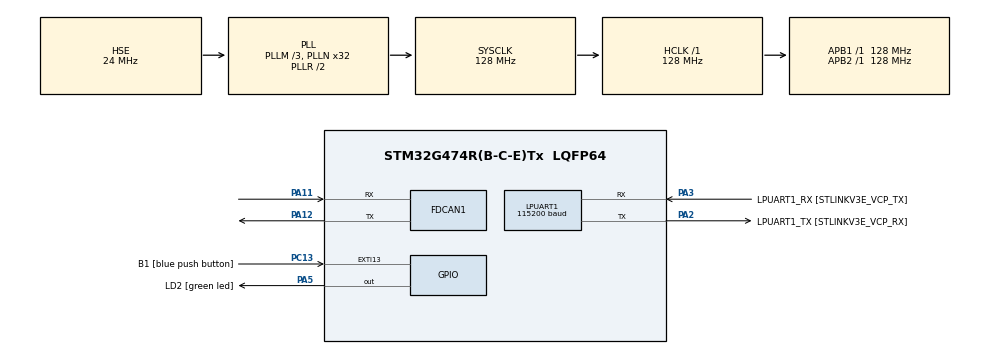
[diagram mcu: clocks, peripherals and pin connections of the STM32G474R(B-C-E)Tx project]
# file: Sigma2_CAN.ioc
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FDCAN1.ClockDivider=FDCAN_CLOCK_DIV2
FDCAN1.NominalPrescaler=40
FDCAN1.NominalTimeSeg1=13
LPUART1.BaudRate=115200
LPUART1.WordLength=UART_WORDLENGTH_8B
Mcu.Family=STM32G4
Mcu.Name=STM32G474R(B-C-E)Tx
Mcu.Package=LQFP64
NVIC.EXTI15_10_IRQn=true\:0\:0\:false\:true\:true\:2\:true\:true
NVIC.FDCAN1_IT0_IRQn=true\:0\:0\:false\:true\:true\:1\:true\:true
NVIC.PriorityGroup=NVIC_PRIORITYGROUP_4
PA11.Mode=FDCANMaster
PA11.Signal=FDCAN1_RX
PA12.Mode=FDCANMaster
PA12.Signal=FDCAN1_TX
PA13.GPIO_Label=T_SWDIO
PA13.Mode=Serial_Wire
PA13.Signal=SYS_JTMS-SWDIO
PA14.GPIO_Label=T_SWCLK
PA14.Mode=Serial_Wire
PA14.Signal=SYS_JTCK-SWCLK
PA2.GPIO_Label=LPUART1_TX [STLINKV3E_VCP_RX]
PA2.Mode=Asynchronous
PA2.Signal=LPUART1_TX
PA3.GPIO_Label=LPUART1_RX [STLINKV3E_VCP_TX]
PA3.Mode=Asynchronous
PA3.Signal=LPUART1_RX
PA5.GPIO_Label=LD2 [green led]
PA5.Signal=GPIO_Output
PB3.GPIO_Label=T_SWO
PB3.Signal=SYS_JTDO-SWO
PC13.GPIO_Label=B1 [blue push button]
PC13.Signal=GPXTI13
PC14-OSC32_IN.Mode=LSE-External-Oscillator
PC14-OSC32_IN.Signal=RCC_OSC32_IN
PC15-OSC32_OUT.Mode=LSE-External-Oscillator
PC15-OSC32_OUT.Signal=RCC_OSC32_OUT
PF0-OSC_IN.Mode=HSE-External-Oscillator
PF0-OSC_IN.Signal=RCC_OSC_IN
PF1-OSC_OUT.Mode=HSE-External-Oscillator
PF1-OSC_OUT.Signal=RCC_OSC_OUT
ProjectManager.HeapSize=0x200
ProjectManager.StackSize=0x400
ProjectManager.TargetToolchain=STM32CubeIDE
RCC.ADC12Freq_Value=128000000
RCC.ADC345Freq_Value=128000000
RCC.AHBFreq_Value=128000000
RCC.APB1Freq_Value=128000000
RCC.APB1TimFreq_Value=128000000
RCC.APB2Freq_Value=128000000
RCC.APB2TimFreq_Value=128000000
RCC.CortexFreq_Value=128000000
RCC.EXTERNAL_CLOCK_VALUE=12288000
RCC.HCLKFreq_Value=128000000
RCC.HSE_VALUE=24000000
RCC.HSI48_VALUE=48000000
RCC.HSI_VALUE=16000000
RCC.PLLM=RCC_PLLM_DIV3
RCC.PLLN=32
RCC.PLLSourceVirtual=RCC_PLLSOURCE_HSE
RCC.RTCClockSelection=RCC_RTCCLKSOURCE_LSE
RCC.SYSCLKFreq_VALUE=128000000
RCC.SYSCLKSource=RCC_SYSCLKSOURCE_PLLCLK
RCC.USBFreq_Value=128000000
RCC.VCOOutputFreq_Value=256000000
VP_SYS_VS_DBSignals.Mode=DisableDeadBatterySignals
board=NUCLEO-G474RE

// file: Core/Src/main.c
/* USER CODE BEGIN Header */
/**
  ******************************************************************************
  * @file           : main.c
  * @brief          : Main program body
  ******************************************************************************
  * @attention
  *
  * <h2><center>&copy; Copyright (c) 2019 STMicroelectronics.
  * All rights reserved.</center></h2>
  *
  * This software component is licensed by ST under BSD 3-Clause license,
  * the "License"; You may not use this file except in compliance with the
  * License. You may obtain a copy of the License at:
  *                        opensource.org/licenses/BSD-3-Clause
  *
  ******************************************************************************
  */
/* USER CODE END Header */

#include "main.h"

/* USER CODE BEGIN Includes */
#include "Sigma2_Def.h"
/* USER CODE END Includes */

/* USER CODE BEGIN PTD */
typedef union{
	uint8_t		Data8u[8];
	uint16_t	Data16u[4];
	int16_t		Data16[4];
}data_typedef;
/* USER CODE END PTD */

FDCAN_HandleTypeDef hfdcan1;

UART_HandleTypeDef hlpuart1;

/* USER CODE BEGIN PV */
uint8_t TxData[8];
data_typedef RxData;
uint8_t ubKeyNumber = 0x0;
FDCAN_RxHeaderTypeDef RxHeader;
FDCAN_TxHeaderTypeDef TxHeader;
uint32_t ID = 0x00;
MS_typedef ms;
CS_typedef cs;
DS_typedef ds;
/* USER CODE END PV */

void SystemClock_Config(void);
static void MX_GPIO_Init(void);
static void MX_LPUART1_UART_Init(void);
static void MX_FDCAN1_Init(void);
static void MX_NVIC_Init(void);
/* USER CODE BEGIN PFP */
void readSigmaData(void);
/* USER CODE END PFP */

int main(void)
{

  /* MCU Configuration--------------------------------------------------------*/

  /* Reset of all peripherals, Initializes the Flash interface and the Systick. */
  HAL_Init();

  /* Configure the system clock */
  SystemClock_Config();

  /* Initialize all configured peripherals */
  MX_GPIO_Init();
  MX_LPUART1_UART_Init();
  MX_FDCAN1_Init();

  /* Initialize interrupts */
  MX_NVIC_Init();
  /* USER CODE BEGIN 2 */

  TxHeader.Identifier = 0x0;
  TxHeader.IdType = FDCAN_EXTENDED_ID;
  TxHeader.TxFrameType = FDCAN_DATA_FRAME;
  TxHeader.DataLength = FDCAN_DLC_BYTES_8;
  TxHeader.ErrorStateIndicator = FDCAN_ESI_ACTIVE;
  TxHeader.BitRateSwitch = FDCAN_BRS_OFF;
  TxHeader.FDFormat = FDCAN_CLASSIC_CAN;
  TxHeader.TxEventFifoControl = FDCAN_NO_TX_EVENTS;
  TxHeader.MessageMarker = 0;

  if (HAL_FDCAN_Start(&hfdcan1) != HAL_OK)
      {
        /* Start Error */
        Error_Handler();
      }
    if (HAL_FDCAN_ActivateNotification(&hfdcan1, FDCAN_IT_RX_FIFO0_NEW_MESSAGE, 0) != HAL_OK)
      {
        /* Notification Error */
        Error_Handler();
      }
  /* USER CODE END 2 */

  /* Infinite loop */
  while (1)
  {

    /* USER CODE BEGIN 3 */

	  /*if (HAL_FDCAN_AddMessageToTxFifoQ(&hfdcan1, &TxHeader, TxData) != HAL_OK)
	  	  	{
	  	  	  // Transmission request Error
	  	  	  Error_Handler();
	  	  	}
	  TxData[7]=TxData[7]+1;*/

	  /*if(HAL_FDCAN_GetRxMessage(&hfdcan1,FDCAN_RX_FIFO0,&RxHeader,RxData.Data8u) == HAL_OK){
		  HAL_GPIO_WritePin(GPIOA, GPIO_PIN_5, GPIO_PIN_SET);
		  ID = RxHeader.Identifier;
		  //HAL_Delay(100);
		  //HAL_GPIO_TogglePin(GPIOA, GPIO_PIN_5);
	  		}
	  else{
		  // Transmission request Error /
		  Error_Handler();
	  }*/

	  HAL_GPIO_WritePin(GPIOA, GPIO_PIN_5, GPIO_PIN_RESET);

	  HAL_Delay(10);
  }
  /* USER CODE END 3 */
}

void SystemClock_Config(void)
{
  RCC_OscInitTypeDef RCC_OscInitStruct = {0};
  RCC_ClkInitTypeDef RCC_ClkInitStruct = {0};
  RCC_PeriphCLKInitTypeDef PeriphClkInit = {0};

  /** Configure the main internal regulator output voltage
  */
  HAL_PWREx_ControlVoltageScaling(PWR_REGULATOR_VOLTAGE_SCALE1);
  /** Initializes the CPU, AHB and APB busses clocks
  */
  RCC_OscInitStruct.OscillatorType = RCC_OSCILLATORTYPE_HSE;
  RCC_OscInitStruct.HSEState = RCC_HSE_ON;
  RCC_OscInitStruct.PLL.PLLState = RCC_PLL_ON;
  RCC_OscInitStruct.PLL.PLLSource = RCC_PLLSOURCE_HSE;
  RCC_OscInitStruct.PLL.PLLM = RCC_PLLM_DIV3;
  RCC_OscInitStruct.PLL.PLLN = 32;
  RCC_OscInitStruct.PLL.PLLP = RCC_PLLP_DIV2;
  RCC_OscInitStruct.PLL.PLLQ = RCC_PLLQ_DIV2;
  RCC_OscInitStruct.PLL.PLLR = RCC_PLLR_DIV2;
  if (HAL_RCC_OscConfig(&RCC_OscInitStruct) != HAL_OK)
  {
    Error_Handler();
  }
  /** Initializes the CPU, AHB and APB busses clocks
  */
  RCC_ClkInitStruct.ClockType = RCC_CLOCKTYPE_HCLK|RCC_CLOCKTYPE_SYSCLK
                              |RCC_CLOCKTYPE_PCLK1|RCC_CLOCKTYPE_PCLK2;
  RCC_ClkInitStruct.SYSCLKSource = RCC_SYSCLKSOURCE_PLLCLK;
  RCC_ClkInitStruct.AHBCLKDivider = RCC_SYSCLK_DIV1;
  RCC_ClkInitStruct.APB1CLKDivider = RCC_HCLK_DIV1;
  RCC_ClkInitStruct.APB2CLKDivider = RCC_HCLK_DIV1;

  if (HAL_RCC_ClockConfig(&RCC_ClkInitStruct, FLASH_LATENCY_6) != HAL_OK)
  {
    Error_Handler();
  }
  /** Initializes the peripherals clocks
  */
  PeriphClkInit.PeriphClockSelection = RCC_PERIPHCLK_LPUART1|RCC_PERIPHCLK_FDCAN;
  PeriphClkInit.Lpuart1ClockSelection = RCC_LPUART1CLKSOURCE_PCLK1;
  PeriphClkInit.FdcanClockSelection = RCC_FDCANCLKSOURCE_PCLK1;
  if (HAL_RCCEx_PeriphCLKConfig(&PeriphClkInit) != HAL_OK)
  {
    Error_Handler();
  }
}

/**
  * @brief NVIC Configuration.
  * @retval None
  */
static void MX_NVIC_Init(void)
{
  /* FDCAN1_IT0_IRQn interrupt configuration */
  HAL_NVIC_SetPriority(FDCAN1_IT0_IRQn, 0, 0);
  HAL_NVIC_EnableIRQ(FDCAN1_IT0_IRQn);
  /* EXTI15_10_IRQn interrupt configuration */
  HAL_NVIC_SetPriority(EXTI15_10_IRQn, 0, 0);
  HAL_NVIC_EnableIRQ(EXTI15_10_IRQn);
}

static void MX_FDCAN1_Init(void)
{

  hfdcan1.Instance = FDCAN1;
  hfdcan1.Init.ClockDivider = FDCAN_CLOCK_DIV2;
  hfdcan1.Init.FrameFormat = FDCAN_FRAME_CLASSIC;
  hfdcan1.Init.Mode = FDCAN_MODE_NORMAL;
  hfdcan1.Init.AutoRetransmission = DISABLE;
  hfdcan1.Init.TransmitPause = DISABLE;
  hfdcan1.Init.ProtocolException = DISABLE;
  hfdcan1.Init.NominalPrescaler = 40;
  hfdcan1.Init.NominalSyncJumpWidth = 1;
  hfdcan1.Init.NominalTimeSeg1 = 13;
  hfdcan1.Init.NominalTimeSeg2 = 2;
  hfdcan1.Init.DataPrescaler = 1;
  hfdcan1.Init.DataSyncJumpWidth = 1;
  hfdcan1.Init.DataTimeSeg1 = 1;
  hfdcan1.Init.DataTimeSeg2 = 1;
  hfdcan1.Init.StdFiltersNbr = 0;
  hfdcan1.Init.ExtFiltersNbr = 0;
  hfdcan1.Init.TxFifoQueueMode = FDCAN_TX_FIFO_OPERATION;
  if (HAL_FDCAN_Init(&hfdcan1) != HAL_OK)
  {
    Error_Handler();
  }

}

static void MX_LPUART1_UART_Init(void)
{

  hlpuart1.Instance = LPUART1;
  hlpuart1.Init.BaudRate = 115200;
  hlpuart1.Init.WordLength = UART_WORDLENGTH_8B;
  hlpuart1.Init.StopBits = UART_STOPBITS_1;
  hlpuart1.Init.Parity = UART_PARITY_NONE;
  hlpuart1.Init.Mode = UART_MODE_TX_RX;
  hlpuart1.Init.HwFlowCtl = UART_HWCONTROL_NONE;
  hlpuart1.Init.OneBitSampling = UART_ONE_BIT_SAMPLE_DISABLE;
  hlpuart1.AdvancedInit.AdvFeatureInit = UART_ADVFEATURE_NO_INIT;
  if (HAL_UART_Init(&hlpuart1) != HAL_OK)
  {
    Error_Handler();
  }
  if (HAL_UARTEx_SetTxFifoThreshold(&hlpuart1, UART_TXFIFO_THRESHOLD_1_8) != HAL_OK)
  {
    Error_Handler();
  }
  if (HAL_UARTEx_SetRxFifoThreshold(&hlpuart1, UART_RXFIFO_THRESHOLD_1_8) != HAL_OK)
  {
    Error_Handler();
  }
  if (HAL_UARTEx_DisableFifoMode(&hlpuart1) != HAL_OK)
  {
    Error_Handler();
  }

}

static void MX_GPIO_Init(void)
{
  GPIO_InitTypeDef GPIO_InitStruct = {0};

  /* GPIO Ports Clock Enable */
  __HAL_RCC_GPIOC_CLK_ENABLE();
  __HAL_RCC_GPIOF_CLK_ENABLE();
  __HAL_RCC_GPIOA_CLK_ENABLE();
  __HAL_RCC_GPIOB_CLK_ENABLE();

  /*Configure GPIO pin Output Level */
  HAL_GPIO_WritePin(LD2_GPIO_Port, LD2_Pin, GPIO_PIN_RESET);

  /*Configure GPIO pin : B1_Pin */
  GPIO_InitStruct.Pin = B1_Pin;
  GPIO_InitStruct.Mode = GPIO_MODE_IT_RISING;
  GPIO_InitStruct.Pull = GPIO_NOPULL;
  HAL_GPIO_Init(B1_GPIO_Port, &GPIO_InitStruct);

  /*Configure GPIO pin : LD2_Pin */
  GPIO_InitStruct.Pin = LD2_Pin;
  GPIO_InitStruct.Mode = GPIO_MODE_OUTPUT_PP;
  GPIO_InitStruct.Pull = GPIO_NOPULL;
  GPIO_InitStruct.Speed = GPIO_SPEED_FREQ_LOW;
  HAL_GPIO_Init(LD2_GPIO_Port, &GPIO_InitStruct);

}

/* USER CODE BEGIN 4 */
void HAL_FDCAN_RxFifo0Callback(FDCAN_HandleTypeDef*hcan, uint32_t RxFifo0ITs){
	if(HAL_FDCAN_GetRxMessage(&hfdcan1,FDCAN_RX_FIFO0,&RxHeader,RxData.Data8u) != HAL_OK){
		/* Transmission request Error */
		Error_Handler();
	}
	ID = RxHeader.Identifier;
	readSigmaData();
	HAL_GPIO_WritePin(GPIOA, GPIO_PIN_5, GPIO_PIN_SET);
}

void readSigmaData(void){
	switch(ID){
	case MS:
			ms.MotorSpeed			= RxData.Data16u[0];
			ms.MotorCurrent			= RxData.Data16[1];
			ms.MotorVoltage			= RxData.Data8u[4];
			ms.BatteryVoltage		= RxData.Data8u[5];
			ms.BatteryCurrent		= RxData.Data16[4];
	break;
	case DS:
			ds.ActualTorque			= RxData.Data16[0];
			ds.ActualSpeed			= RxData.Data16[1];
			ds.DriveStatusIndicator	= RxData.Data8u[4];
			ds.SpeedLimitIndicator	= RxData.Data8u[4];
			ds.TorqueLimitIndicator	= RxData.Data8u[5];
			ds.MotorLimitIndicator	= RxData.Data8u[5];
			ds.FaultCode			= RxData.Data8u[6];
			ds.Code					= RxData.Data8u[7];
	break;
	case CS:
			cs.ControllerTemperature= RxData.Data8u[0];
			cs.MotorTemperature		= RxData.Data8u[1];
			cs.BDI					= RxData.Data8u[2];
			cs.FaultSubCode			= RxData.Data8u[3]<<8 | RxData.Data8u[4];
	break;
	}
}
/* USER CODE END 4 */

void Error_Handler(void)
{
}

/************************ (C) COPYRIGHT STMicroelectronics *****END OF FILE****/
